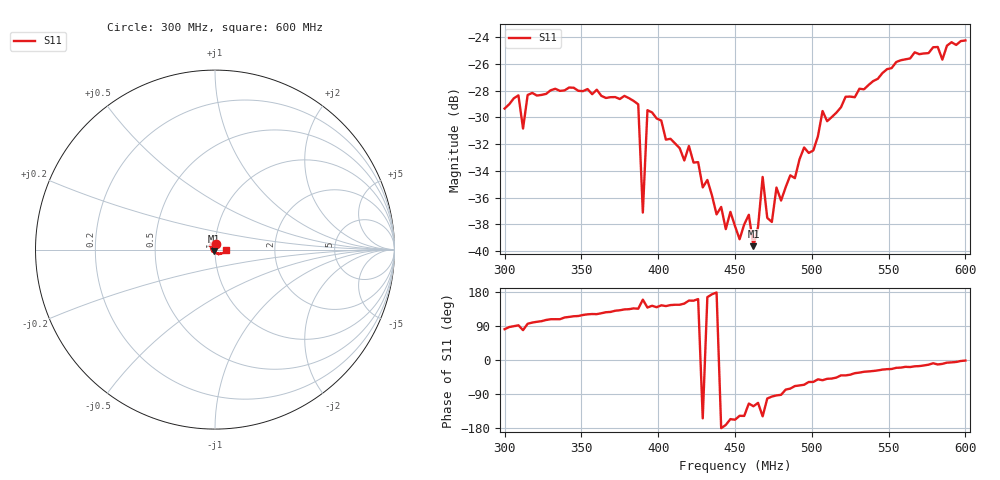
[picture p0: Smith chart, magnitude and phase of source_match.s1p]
! Created with skrf 1.8.0 (http://scikit-rf.org).
# Hz S RI R 50.0
!freq ReS11 ImS11
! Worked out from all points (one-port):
!   101 points, 300 MHz to 600 MHz, reference 50 ohm
!   lowest |S11| = -39.6 dB at 462 MHz (marker M1), VSWR 1.02, Z = 49.4 - j0.874 ohm
!   |S11| at or under -10 dB: start of sweep to end of sweep
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3e8  0.00518 0.0338
3.09e8  -0.00104 0.0382
3.12e8  0.0056 0.0282
3.15e8  -0.00381 0.0382
3.39e8  -0.015 0.037
3.75e8  -0.0244 0.0279
3.87e8  -0.0252 0.0249
3.9e8  -0.013 0.00494
3.93e8  -0.0252 0.0224
4.14e8  -0.0201 0.0136
4.26e8  -0.0203 0.0071
4.44e8  -0.0119 -0.0018
4.47e8  -0.0128 -0.0057
4.5e8  -0.0115 -0.00472
4.53e8  -0.00931 -0.00599
4.59e8  -0.00575 -0.0124
4.62e8  -0.00553 -0.00883
4.68e8  -0.0162 -0.00983
4.71e8  -0.00271 -0.013
4.74e8  -0.00144 -0.0128
4.77e8  -0.00104 -0.0172
4.89e8  0.00679 -0.0175
4.95e8  0.0102 -0.0222
5.01e8  0.0127 -0.0201
5.07e8  0.02 -0.0268
5.25e8  0.0295 -0.0237
5.64e8  0.0499 -0.0168
6e8  0.0614 -0.00154
